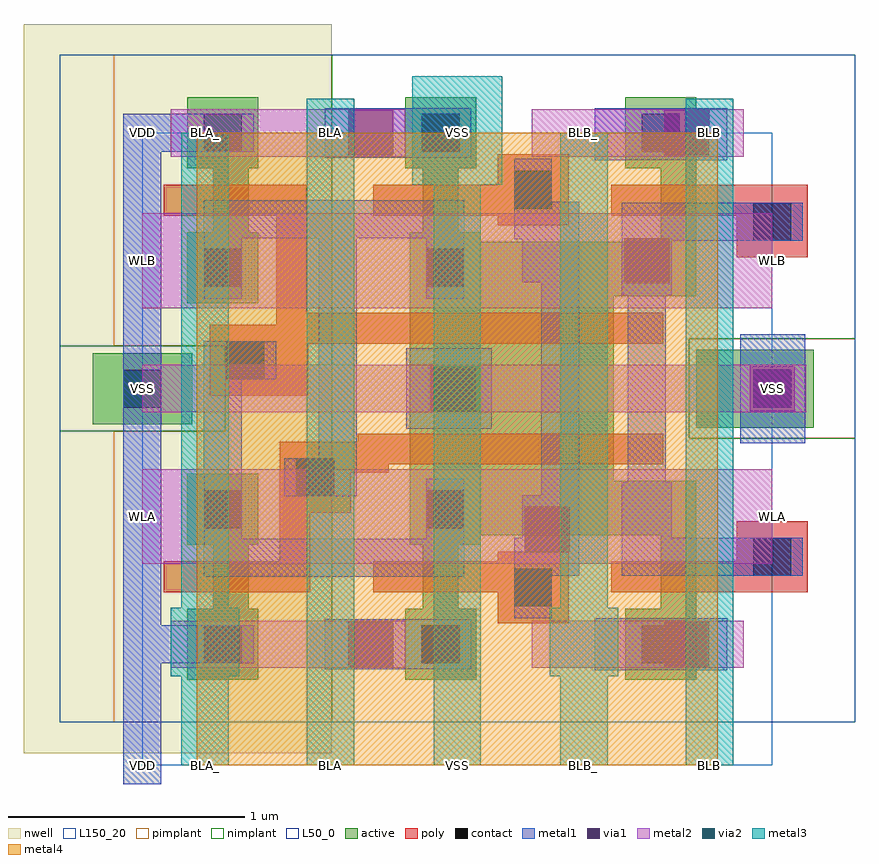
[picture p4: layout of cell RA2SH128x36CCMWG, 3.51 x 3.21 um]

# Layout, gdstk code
import gdstk
lib = gdstk.Library(unit=1e-6, precision=1e-09)
def R(c, l, rs):  # rectangles x0, y0, x1, y1
    for r in rs: c.add(gdstk.rectangle(r[:2], r[2:], *l))
def P(c, l, *ps):  # polygons
    for p in ps: c.add(gdstk.Polygon(p, *l))
nwell = (3, 0)
active = (6, 0)
poly = (17, 0)
pimplant = (25, 0)
nimplant = (26, 0)
contact = (30, 0)
metal1 = (31, 0)
metal2 = (32, 0)
metal3 = (33, 0)
metal4 = (34, 0)
L50_0 = (50, 0)
via1 = (51, 0)
via2 = (52, 0)
L150_20 = (150, 20)

ra2sh128x36ccmwg = lib.new_cell('RA2SH128x36CCMWG')
R(ra2sh128x36ccmwg, nwell, [(-0.5,0.05,0.8,3.13)])
R(ra2sh128x36ccmwg, active, [(2.34,1.425,2.835,1.755), (-0.21,1.44,0.21,1.74)])
P(ra2sh128x36ccmwg, active, [(0.19,1.23),(0.19,0.93),(0.3,0.93),(0.3,0.66),(0.19,0.66),(0.19,0.36),(0.49,0.36),(0.49,0.66),(0.45,0.66),(0.45,0.93),(0.49,0.93),(0.49,1.23)],
  [(0.19,2.82),(0.19,2.52),(0.3,2.52),(0.3,2.25),(0.19,2.25),(0.19,1.95),(0.49,1.95),(0.49,2.25),(0.45,2.25),(0.45,2.52),(0.49,2.52),(0.49,2.82)],
  [(2.04,2.82),(2.04,2.52),(2.19,2.52),(2.19,2.21),(1.43,2.21),(1.43,2.25),(1.335,2.25),(1.335,2.52),(1.41,2.52),(1.41,2.82),(1.11,2.82),(1.11,2.52),(1.185,2.52),(1.185,2.25),(1.13,2.25),(1.13,0.93),(1.185,0.93),(1.185,0.66),(1.11,0.66),(1.11,0.36),(1.41,0.36),(1.41,0.66),(1.335,0.66),(1.335,0.93),(1.43,0.93),(1.43,0.97),(2.19,0.97),(2.19,0.66),(2.04,0.66),(2.04,0.36),(2.34,0.36),(2.34,1.2),(1.99,1.2),(1.99,1.98),(2.34,1.98),(2.34,2.82)])
P(ra2sh128x36ccmwg, poly, [(1.5,0.9),(1.5,0.86),(0.975,0.86),(0.975,0.73),(1.5,0.73),(1.5,0.6),(1.8,0.6),(1.8,0.9)],
  [(2.51,1.03),(2.51,0.86),(1.98,0.86),(1.98,0.73),(2.81,0.73),(2.81,1.03)],
  [(0.91,1.4),(0.91,1.365),(0.58,1.365),(0.58,0.86),(0.09,0.86),(0.09,0.73),(0.71,0.73),(0.71,1.065),(0.88,1.065),(0.88,1.235),(1.04,1.235),(1.04,1.27),(2.2,1.27),(2.2,1.4)],
  [(0.09,2.45),(0.09,2.32),(0.565,2.32),(0.565,1.86),(0.285,1.86),(0.285,1.56),(0.7,1.56),(0.7,1.78),(2.2,1.78),(2.2,1.91),(0.695,1.91),(0.695,2.45)],
  [(1.98,2.45),(1.98,2.32),(2.51,2.32),(2.51,2.145),(2.81,2.145),(2.81,2.45)],
  [(1.5,2.58),(1.5,2.45),(0.975,2.45),(0.975,2.32),(1.5,2.32),(1.5,2.28),(1.8,2.28),(1.8,2.58)])
R(ra2sh128x36ccmwg, pimplant, [(2.31,1.38,3.01,1.8)])
P(ra2sh128x36ccmwg, pimplant, [(-0.12,3),(-0.12,1.77),(0.35,1.77),(0.35,1.41),(-0.12,1.41),(-0.12,0.18),(0.8,0.18),(0.8,3)])
R(ra2sh128x36ccmwg, nimplant, [(-0.35,1.41,0.35,1.77)])
P(ra2sh128x36ccmwg, nimplant, [(0.8,3),(0.8,0.18),(3.01,0.18),(3.01,1.38),(2.31,1.38),(2.31,1.8),(3.01,1.8),(3.01,3)])
R(ra2sh128x36ccmwg, contact, [(0.26,0.43,0.42,0.59), (1.18,0.43,1.34,0.59), (2.11,0.43,2.27,0.59), (1.57,0.67,1.73,0.83), (2.58,0.8,2.74,0.96), (0.26,1,0.42,1.16), (1.2,1,1.36,1.16), (0.65,1.135,0.81,1.295), (-0.08,1.51,0.08,1.67), (1.23,1.51,1.39,1.67), (2.58,1.51,2.74,1.67), (0.355,1.63,0.515,1.79), (0.26,2.02,0.42,2.18), (1.2,2.02,1.36,2.18), (2.58,2.215,2.74,2.375), (1.57,2.35,1.73,2.51), (0.26,2.59,0.42,2.75), (1.18,2.59,1.34,2.75), (2.11,2.59,2.27,2.75)])
R(ra2sh128x36ccmwg, metal1, [(1.91,0.4,2.47,0.62), (0.77,0.405,1.39,0.615), (2.525,1.36,2.8,1.82), (1.115,1.42,1.475,1.76), (1.91,2.555,2.47,2.775), (0.77,2.565,1.39,2.775)])
P(ra2sh128x36ccmwg, metal1, [(0.26,1.79),(0.26,0.795),(1.36,0.795),(1.36,1.21),(1.2,1.21),(1.2,0.955),(0.42,0.955),(0.42,1.63),(0.565,1.63),(0.565,1.79)],
  [(2.025,2.375),(2.025,1.985),(2.05,1.985),(2.05,1.195),(2.025,1.195),(2.025,0.8),(2.79,0.8),(2.79,0.96),(2.235,0.96),(2.235,1.195),(2.21,1.195),(2.21,1.985),(2.235,1.985),(2.235,2.215),(2.79,2.215),(2.79,2.375)],
  [(0.26,2.385),(0.26,1.97),(0.42,1.97),(0.42,2.225),(0.745,2.225),(0.745,1.295),(0.6,1.295),(0.6,1.135),(0.905,1.135),(0.905,2.225),(1.2,2.225),(1.2,1.97),(1.36,1.97),(1.36,2.385)],
  [(1.57,2.56),(1.57,2.22),(1.605,2.22),(1.605,2.04),(1.685,2.04),(1.685,1.14),(1.605,1.14),(1.605,0.96),(1.57,0.96),(1.57,0.62),(1.73,0.62),(1.73,0.8),(1.845,0.8),(1.845,2.38),(1.73,2.38),(1.73,2.56)],
  [(-0.08,2.75),(-0.08,-0.08),(0.08,-0.08),(0.08,0.43),(0.47,0.43),(0.47,0.59),(0.08,0.59),(0.08,2.59),(0.47,2.59),(0.47,2.75)])
R(ra2sh128x36ccmwg, metal2, [(0.12,0.41,1.11,0.61), (1.645,0.41,2.54,0.61), (0,0.85,2.66,1.25), (0,1.49,2.805,1.69), (0,1.93,2.66,2.33), (0.12,2.57,1.11,2.77), (1.645,2.57,2.54,2.77)])
R(ra2sh128x36ccmwg, metal3, [(0.695,0,0.895,2.815), (2.295,0,2.495,2.815)])
P(ra2sh128x36ccmwg, metal3, [(0.165,2.67),(0.165,0.665),(0.12,0.665),(0.12,0.375),(0.165,0.375),(0.165,0),(0.365,0),(0.365,0.375),(0.41,0.375),(0.41,0.665),(0.365,0.665),(0.365,2.67)],
  [(1.765,2.67),(1.765,0.665),(1.72,0.665),(1.72,0.375),(1.765,0.375),(1.765,0),(1.965,0),(1.965,0.375),(2.01,0.375),(2.01,0.665),(1.965,0.665),(1.965,2.67)],
  [(1.14,2.91),(1.14,2.45),(1.23,2.45),(1.23,0),(1.43,0),(1.43,2.45),(1.52,2.45),(1.52,2.91)])
R(ra2sh128x36ccmwg, metal4, [(0.23,0,2.43,2.67)])
R(ra2sh128x36ccmwg, L50_0, [(-0.35,0.18,3.01,3)])
R(ra2sh128x36ccmwg, via1, [(0.87,0.415,1.06,0.605), (2.205,0.415,2.395,0.605), (1.615,0.9,1.805,1.09), (1.215,1.495,1.405,1.685), (2.565,1.495,2.755,1.685), (2.035,2.035,2.225,2.225), (0.87,2.575,1.06,2.765), (2.205,2.575,2.395,2.765)])
R(ra2sh128x36ccmwg, via2, [(1.235,1.495,1.425,1.685)])
R(ra2sh128x36ccmwg, L150_20, [(0,0,2.66,2.67)])
ra2sh128x36ccmwg.add(gdstk.Label('WLB', (0,2.13), layer=132, texttype=0))
ra2sh128x36ccmwg.add(gdstk.Label('VSS', (0,1.59), layer=132, texttype=0))
ra2sh128x36ccmwg.add(gdstk.Label('WLA', (0,1.05), layer=132, texttype=0))
ra2sh128x36ccmwg.add(gdstk.Label('VDD', (0,0), layer=131, texttype=0))
ra2sh128x36ccmwg.add(gdstk.Label('VDD', (0,2.67), layer=131, texttype=0))
ra2sh128x36ccmwg.add(gdstk.Label('WLB', (2.66,2.13), layer=132, texttype=0))
ra2sh128x36ccmwg.add(gdstk.Label('WLA', (2.66,1.05), layer=132, texttype=0))
ra2sh128x36ccmwg.add(gdstk.Label('VSS', (2.66,1.59), layer=132, texttype=0))
ra2sh128x36ccmwg.add(gdstk.Label('BLA_', (0.265,0), layer=133, texttype=0))
ra2sh128x36ccmwg.add(gdstk.Label('BLB_', (1.865,0), layer=133, texttype=0))
ra2sh128x36ccmwg.add(gdstk.Label('VSS', (1.33,0), layer=133, texttype=0))
ra2sh128x36ccmwg.add(gdstk.Label('BLA', (0.795,0), layer=133, texttype=0))
ra2sh128x36ccmwg.add(gdstk.Label('BLB', (2.395,0), layer=133, texttype=0))
ra2sh128x36ccmwg.add(gdstk.Label('VDD', (0,0), layer=131, texttype=0))
ra2sh128x36ccmwg.add(gdstk.Label('VSS', (1.33,0), layer=134, texttype=0))
ra2sh128x36ccmwg.add(gdstk.Label('VSS', (1.33,2.67), layer=133, texttype=0))
ra2sh128x36ccmwg.add(gdstk.Label('BLB', (2.395,2.67), layer=133, texttype=0))
ra2sh128x36ccmwg.add(gdstk.Label('BLA', (0.795,2.67), layer=133, texttype=0))
ra2sh128x36ccmwg.add(gdstk.Label('BLB_', (1.865,2.67), layer=133, texttype=0))
ra2sh128x36ccmwg.add(gdstk.Label('BLA_', (0.265,2.67), layer=133, texttype=0))
ra2sh128x36ccmwg.add(gdstk.Label('VDD', (0,2.67), layer=131, texttype=0))
ra2sh128x36ccmwg.add(gdstk.Label('VSS', (1.33,2.67), layer=134, texttype=0))

lib.write_gds('RA2SH128x36CCMWG.gds')
